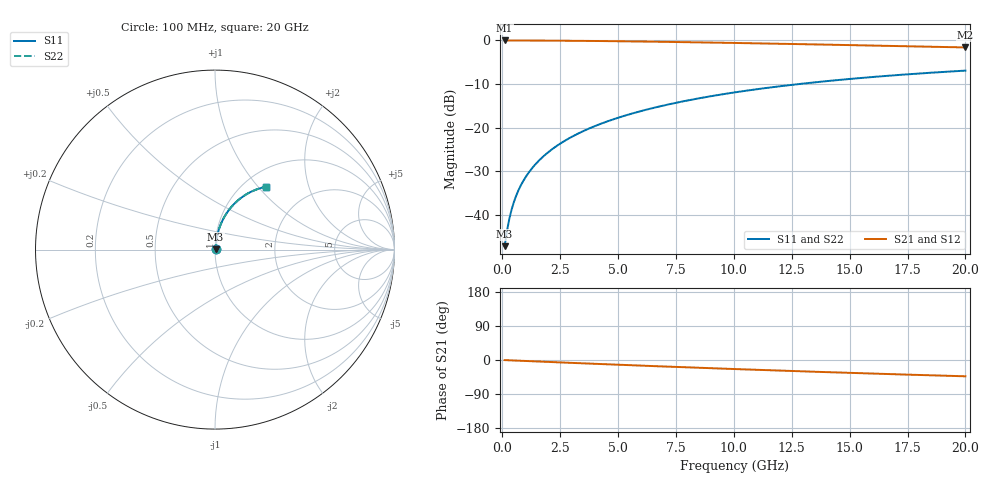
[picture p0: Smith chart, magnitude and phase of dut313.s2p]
! Touchstone file exported from HFSS 2024.1.0
!  File:  C:/UserFiles/LocalFiles/RDL_TSV_Batchsim/temp_RDL_bottom_313_1779610753.aedt
!  Generated:  04:21:32 PM May 24, 2026
!  Design:  RDL_bottom
!  Project:  temp_RDL_bottom_313_1779610753
!  Setup:  Setup1
!  Solution:  Sweep
! Variables:
!  dtsv = 10.80580581um
!  hbump = 3um
!  htsv = 68.67um
!  ldown = 589.07um
!  lrdl = 100um
!  p = 40
!  p1 = 47.07um
!  rhole = 1um
!  t = 450um
!  tdown = 4.51um
!  trdl = 3.915915916um
!  wdown = 13.75um
!  wrdl = 20um
# GHz S MA R 50.000000
! Terminal data exported
! Port[1] = RDL1_T1
! Port[2] = RDL1_T2
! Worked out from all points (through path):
!   200 points, 100 MHz to 20 GHz, reference 50 ohm
!   highest |S21| = -0.03 dB at 100 MHz (marker M1); lowest = -1.6 dB at 20 GHz (marker M2)
!   group delay of S21, straight-line fit = 5.96 ps
!   lowest |S11| = -47.1 dB at 100 MHz (marker M3), VSWR 1.01, Z = 50.3 + j0.276 ohm
!   |S11| at or under -10 dB: start of sweep to 12.83 GHz
!   |S22| runs from -47.1 to -6.9 dB; largest |S21 - S12| = 4.7e-15
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0.1  0.0044 38.5  0.9966 -0.3  0.9966 -0.3  0.0044 38.5
! Gamma 0 0 0 0
! Port Impedance 50 0 50 0
0.2  0.006505 57.2  0.9965 -0.5  0.9965 -0.5  0.006505 57.2
0.3  0.00895 66.0  0.9963 -0.8  0.9963 -0.8  0.008949 66.0
0.4  0.0115 70.7  0.9962 -1.0  0.9962 -1.0  0.0115 70.7
0.5  0.01407 73.6  0.996 -1.3  0.996 -1.3  0.01407 73.6
0.6  0.01666 75.5  0.9959 -1.6  0.9959 -1.6  0.01666 75.5
0.8  0.02182 77.9  0.9955 -2.1  0.9955 -2.1  0.02182 77.9
1.1  0.02955 79.8  0.995 -2.8  0.995 -2.8  0.02955 79.8
1.5  0.03985 80.9  0.9941 -3.8  0.9941 -3.8  0.03985 80.9
1.8  0.04759 81.2  0.9932 -4.6  0.9932 -4.6  0.04759 81.3
2.1  0.05534 81.4  0.9922 -5.4  0.9922 -5.4  0.05534 81.4
2.7  0.07083 81.1  0.9898 -6.9  0.9898 -6.9  0.07083 81.1
3.5  0.09146 80.3  0.9859 -8.8  0.9859 -8.8  0.09146 80.3
4.2  0.1094 79.4  0.9818 -10.6  0.9818 -10.6  0.1094 79.4
5  0.1299 78.2  0.9766 -12.5  0.9766 -12.5  0.1299 78.2
5.9  0.1527 76.7  0.9699 -14.6  0.9699 -14.6  0.1527 76.7
6.8  0.1752 75.1  0.9627 -16.7  0.9627 -16.7  0.1753 75.1
8.3  0.2121 72.3  0.9496 -20.1  0.9496 -20.1  0.2122 72.4
10.1  0.255 69.0  0.9326 -24.0  0.9326 -24.0  0.255 69.0
13.4  0.3284 62.7  0.899 -30.8  0.899 -30.8  0.3284 62.7
16.7  0.3936 56.7  0.8639 -37.1  0.8639 -37.1  0.3937 56.7
20  0.45 51.0  0.829 -43.0  0.829 -43.0  0.4501 51.0
